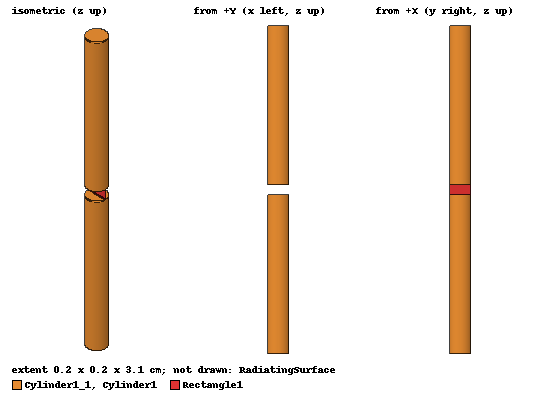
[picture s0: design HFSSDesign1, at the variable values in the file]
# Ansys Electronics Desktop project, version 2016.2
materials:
  vacuum: permittivity=1
  copper: permeability=0.999991 conductivity=58000000

design HFSSDesign1 (HFSS, DrivenModal, model units cm)
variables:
  port_length = 0.001m
  arm_rad = 0.1cm
  arm_length = 1.5cm
  port_len = 0.1cm
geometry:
  Cylinder1 [copper] = cylinder(axis=Z, base_centre=(0, 0, port_len/2), radius=arm_rad, height=arm_length)
  Cylinder1_1 [copper] = Cylinder1.duplicate_around_axis(axis=Y, angle=180deg, total=2)
  Rectangle1 = rectangle(corner=(0cm, -arm_rad, -port_len/2), y_size=2*arm_rad, z_size=port_len)
  RadiatingSurface [vacuum] = region(absolute_offset=1.5564382cm on all sides)
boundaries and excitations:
  Open1: Radiation Objects=RadiatingSurface
  PortP1: Lumped Port Objects=Rectangle1 Modes{Mode1{IntLine{middle of Rectangle1.edge(z opposite corner) -> middle of Rectangle1.edge(z at corner)} CharImp=Zpi RenormImp=73ohm}} FullResistance=50ohm FullReactance=0ohm
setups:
  Setup1: HfssDriven Frequency=5GHz MaxDeltaS=0.02 MaximumPasses=12 MinimumPasses=4 MinimumConvergedPasses=1 PercentRefinement=30 BasisOrder=1 PortAccuracy=2 IterativeResidual=1e-006 DDMSolverResidual=0.0001
    sweep Sweep: 3GHz to 7GHz step 0.01GHz; Type=Interpolating InterpTolerance=0.5 InterpMaxSolns=250 InterpUsePortImped=false PassivityErrorTolerance=0.0001
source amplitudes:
  PortP1:1: 1W 0deg
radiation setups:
  3D: Infinite Sphere Theta=0deg..180deg step 2deg Phi=-180deg..180deg step 2deg
  Elevation: Infinite Sphere Theta=-180deg..180deg step 1deg Phi=0deg..90deg step 90deg
  Azimuth: Infinite Sphere Theta=90deg..90deg step 0deg Phi=-180deg..180deg step 1deg
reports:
  XY Plot 1: dB(S(PortP1,PortP1)) vs Freq on Setup1 : Sweep
  XY Plot 2: im(Z(PortP1,PortP1)), re(Z(PortP1,PortP1)) vs Freq on Setup1 : Sweep
  3D Polar Plot 1: dB(GainTotal) vs Phi, Theta on Setup1 : LastAdaptive, 3D [Freq=5GHz]
